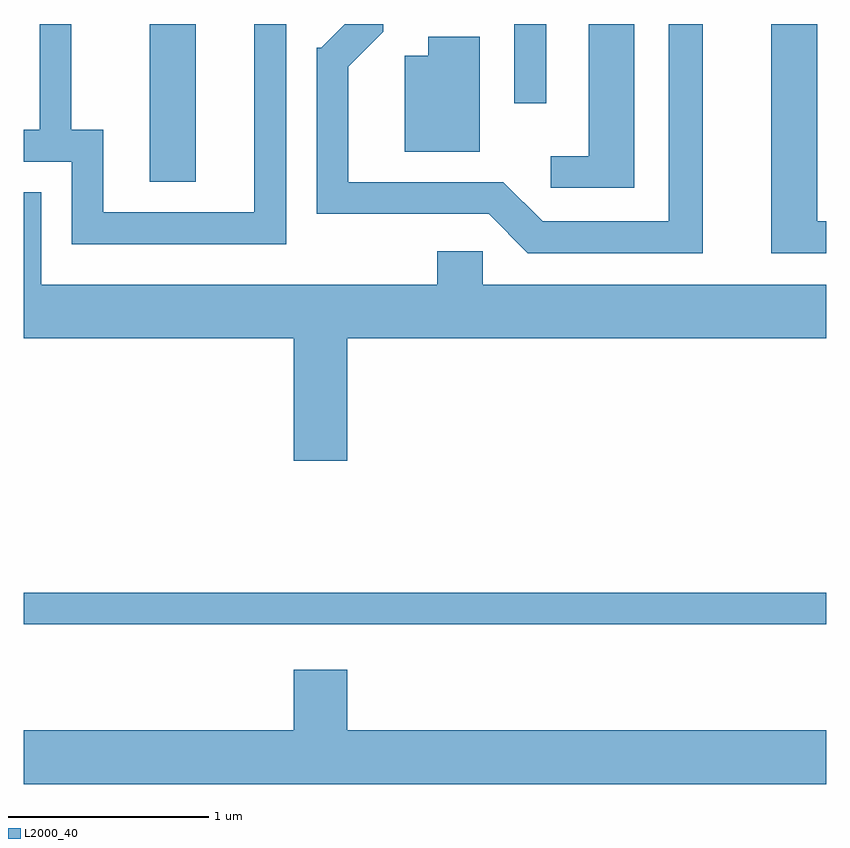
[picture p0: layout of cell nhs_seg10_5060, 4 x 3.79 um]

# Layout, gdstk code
import gdstk
lib = gdstk.Library(unit=1e-6, precision=1e-09)
def R(c, l, rs):  # rectangles x0, y0, x1, y1
    for r in rs: c.add(gdstk.rectangle(r[:2], r[2:], *l))
def P(c, l, *ps):  # polygons
    for p in ps: c.add(gdstk.Polygon(p, *l))
L2000_40 = (2000, 40)

nhs_seg10_5060 = lib.new_cell('nhs_seg10_5060')
R(nhs_seg10_5060, L2000_40, [(333.611,2183.531,337.611,2183.689), (334.241,2185.736,334.469,2186.522), (336.056,2186.128,336.214,2186.522)])
P(nhs_seg10_5060, L2000_40, [(337.611,2185.539),(337.564,2185.539),(337.564,2186.522),(337.336,2186.522),(337.336,2185.381),(337.611,2185.381)],
  [(334.919,2186.522),(334.761,2186.522),(334.761,2185.584),(334.009,2185.584),(334.009,2185.994),(333.849,2185.994),(333.849,2186.522),(333.691,2186.522),(333.691,2185.994),(333.611,2185.994),(333.611,2185.836),(333.851,2185.836),(333.851,2185.426),(334.919,2185.426)],
  [(336.654,2186.522),(336.426,2186.522),(336.426,2185.864),(336.238,2185.864),(336.238,2185.706),(336.654,2185.706)],
  [(336.994,2186.522),(336.826,2186.522),(336.826,2185.539),(336.197,2185.539),(336.002,2185.734),(335.229,2185.734),(335.229,2186.309),(335.404,2186.484),(335.404,2186.522),(335.211,2186.522),(335.094,2186.404),(335.071,2186.404),(335.071,2185.576),(335.929,2185.576),(336.124,2185.381),(336.994,2185.381)],
  [(335.884,2186.459),(335.626,2186.459),(335.626,2186.364),(335.511,2186.364),(335.511,2185.886),(335.884,2185.886)],
  [(335.224,2184.956),(337.611,2184.956),(337.611,2185.224),(335.899,2185.224),(335.899,2185.389),(335.671,2185.389),(335.671,2185.224),(333.699,2185.224),(333.699,2185.684),(333.611,2185.684),(333.611,2184.956),(334.956,2184.956),(334.956,2184.346),(335.224,2184.346)],
  [(337.611,2183.004),(335.224,2183.004),(335.224,2183.304),(334.956,2183.304),(334.956,2183.004),(333.611,2183.004),(333.611,2182.736),(337.611,2182.736)])

lib.write_gds('nhs_seg10_5060.gds')
